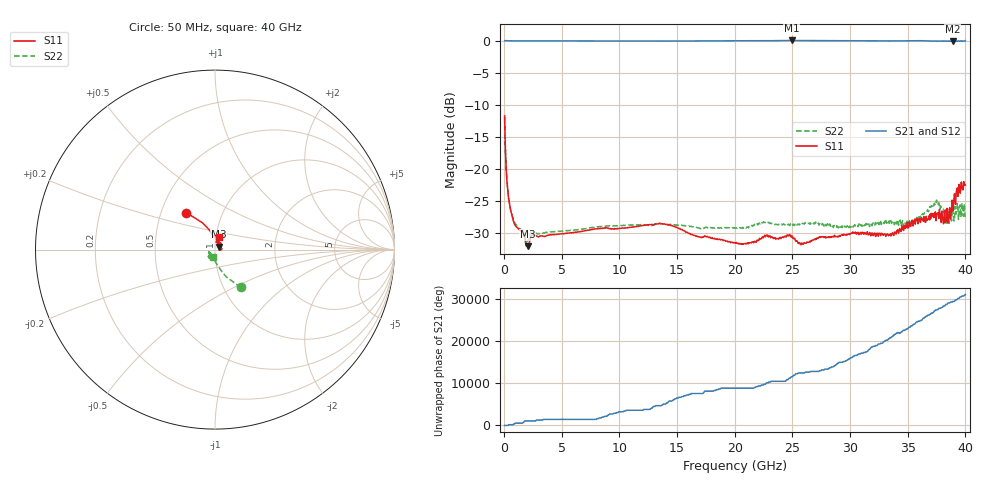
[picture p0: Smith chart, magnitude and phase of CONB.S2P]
! D:\calibration_data\load_pull_templates\Focus_LPWAVE_Project\default\CONB.S2P
# GHZ S MA R 50
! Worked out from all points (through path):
!   800 points, 50 MHz to 40 GHz, reference 50 ohm
!   highest |S21| = 0.06 dB at 24.95 GHz (marker M1); lowest = -0.1 dB at 38.9 GHz (marker M2)
!   lowest |S11| = -32.0 dB at 2.05 GHz (marker M3), VSWR 1.05, Z = 52 + j1.64 ohm
!   |S11| at or under -10 dB: start of sweep to end of sweep
!   |S22| runs from -31.4 to -11.9 dB; largest |S21 - S12| = 0.0015
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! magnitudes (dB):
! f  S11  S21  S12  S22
! 50 MHz  -11.7  0.0  0.0  -11.9
! 350 MHz  -23.8  0.0  0.0  -23.7
! 600 MHz  -26.6  0.0  0.0  -26.6
! 1 GHz  -28.8  0.0  0.0  -28.5
! 1.6 GHz  -29.8  0.0  0.0  -29.6
! 2.05 GHz  -32.0  0.0  0.0  -31.2
! 2.55 GHz  -30.3  0.0  0.0  -29.9
! 6.75 GHz  -29.7  0.0  0.0  -29.3
! 13.4 GHz  -28.5  0.0  0.0  -28.4
! 20.05 GHz  -31.5  0.0  0.0  -29.1
! 22.5 GHz  -30.6  0.0  0.0  -28.2
! 24.95 GHz  -30.4  0.1  0.1  -28.8
! 25.7 GHz  -31.7  0.0  0.0  -28.5
! 26.7 GHz  -31.1  0.0  0.0  -28.5
! 30.3 GHz  -29.9  0.0  0.0  -28.8
! 33.35 GHz  -30.4  0.0  0.0  -28.0
! 35.25 GHz  -28.9  0.0  0.0  -28.5
! 37.5 GHz  -27.0  -0.1  -0.1  -24.8
! 38.3 GHz  -28.0  0.0  0.0  -26.3
! 38.9 GHz  -26.5  -0.1  -0.1  -26.1
! 39.45 GHz  -22.4  0.0  0.0  -26.8
! 40 GHz  -22.5  0.0  0.0  -27.4
